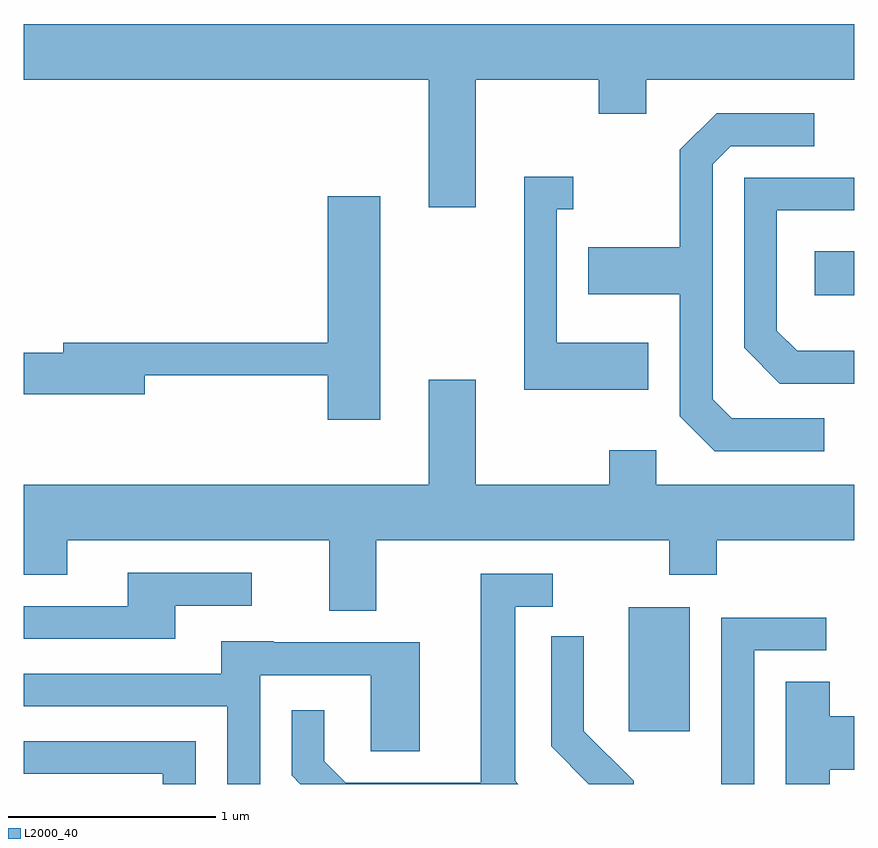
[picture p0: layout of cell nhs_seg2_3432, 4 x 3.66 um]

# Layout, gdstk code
import gdstk
lib = gdstk.Library(unit=1e-6, precision=1e-09)
def R(c, l, rs):  # rectangles x0, y0, x1, y1
    for r in rs: c.add(gdstk.rectangle(r[:2], r[2:], *l))
def P(c, l, *ps):  # polygons
    for p in ps: c.add(gdstk.Polygon(p, *l))
L2000_40 = (2000, 40)

nhs_seg2_3432 = lib.new_cell('nhs_seg2_3432')
R(nhs_seg2_3432, L2000_40, [(288.526,1054.056,288.819,1054.654), (289.421,1056.156,289.611,1056.369)])
P(nhs_seg2_3432, L2000_40, [(287.789,1057.196),(288.381,1057.196),(288.381,1057.031),(288.609,1057.031),(288.609,1057.196),(289.611,1057.196),(289.611,1057.464),(285.611,1057.464),(285.611,1057.196),(287.561,1057.196),(287.561,1056.581),(287.789,1056.581)],
  [(289.468,1055.564),(289.022,1055.564),(288.929,1055.657),(288.929,1056.789),(289.017,1056.876),(289.418,1056.876),(289.418,1057.034),(288.949,1057.034),(288.771,1056.857),(288.771,1056.389),(288.331,1056.389),(288.331,1056.161),(288.771,1056.161),(288.771,1055.574),(288.939,1055.406),(289.468,1055.406)],
  [(288.619,1055.929),(288.179,1055.929),(288.179,1056.571),(288.258,1056.571),(288.258,1056.729),(288.021,1056.729),(288.021,1055.701),(288.619,1055.701)],
  [(289.611,1055.889),(289.337,1055.889),(289.239,1055.987),(289.239,1056.566),(289.611,1056.566),(289.611,1056.724),(289.081,1056.724),(289.081,1055.904),(289.254,1055.731),(289.611,1055.731)],
  [(287.329,1056.634),(287.076,1056.634),(287.076,1055.929),(285.801,1055.929),(285.801,1055.879),(285.611,1055.879),(285.611,1055.681),(286.194,1055.681),(286.194,1055.771),(287.076,1055.771),(287.076,1055.556),(287.329,1055.556)],
  [(287.309,1054.976),(288.721,1054.976),(288.721,1054.811),(288.949,1054.811),(288.949,1054.976),(289.611,1054.976),(289.611,1055.244),(288.659,1055.244),(288.659,1055.409),(288.431,1055.409),(288.431,1055.244),(287.789,1055.244),(287.789,1055.749),(287.561,1055.749),(287.561,1055.244),(285.611,1055.244),(285.611,1054.811),(285.819,1054.811),(285.819,1054.976),(287.081,1054.976),(287.081,1054.636),(287.309,1054.636)],
  [(286.339,1054.661),(286.708,1054.661),(286.708,1054.819),(286.111,1054.819),(286.111,1054.659),(285.611,1054.659),(285.611,1054.501),(286.339,1054.501)],
  [(287.979,1053.817),(287.979,1054.656),(288.158,1054.656),(288.158,1054.814),(287.811,1054.814),(287.811,1053.809),(287.162,1053.809),(287.059,1053.912),(287.059,1054.158),(286.901,1054.158),(286.901,1053.844),(286.943,1053.802),(287.994,1053.802)],
  [(289.129,1054.446),(289.478,1054.446),(289.478,1054.604),(288.971,1054.604),(288.971,1053.802),(289.129,1053.802)],
  [(288.549,1053.817),(288.309,1054.057),(288.309,1054.513),(288.151,1054.513),(288.151,1053.984),(288.333,1053.802),(288.549,1053.802)],
  [(286.749,1054.326),(287.281,1054.326),(287.281,1053.961),(287.519,1053.961),(287.519,1054.484),(286.815,1054.484),(286.815,1054.489),(286.561,1054.489),(286.561,1054.334),(285.611,1054.334),(285.611,1054.176),(286.591,1054.176),(286.591,1053.802),(286.749,1053.802)],
  [(289.494,1053.871),(289.611,1053.871),(289.611,1054.129),(289.494,1054.129),(289.494,1054.294),(289.281,1054.294),(289.281,1053.802),(289.494,1053.802)],
  [(286.439,1054.009),(285.611,1054.009),(285.611,1053.851),(286.281,1053.851),(286.281,1053.802),(286.439,1053.802)])

lib.write_gds('nhs_seg2_3432.gds')
